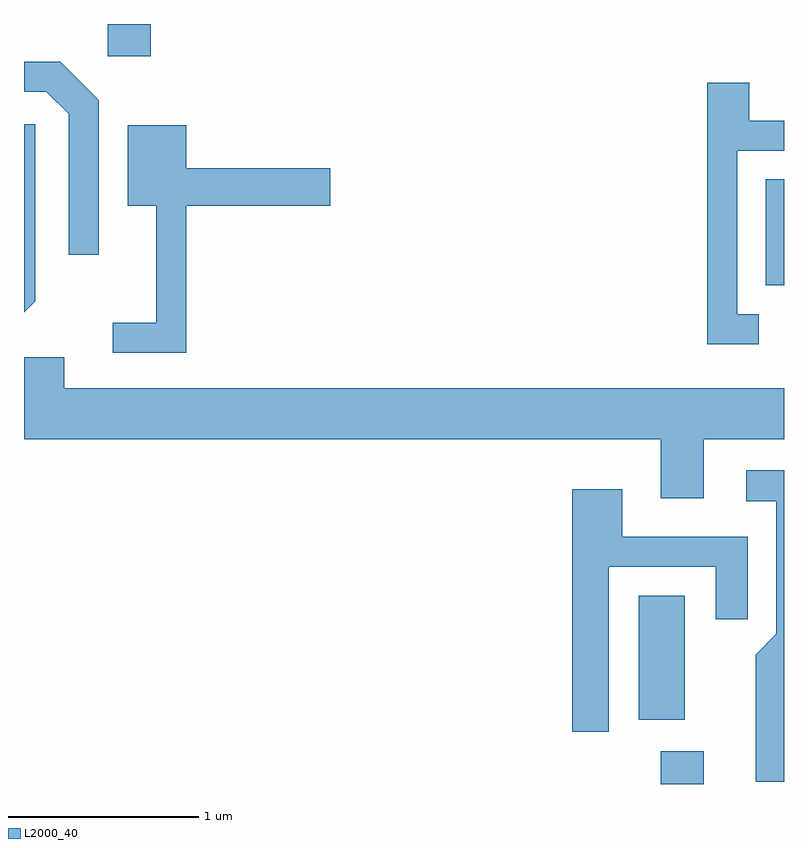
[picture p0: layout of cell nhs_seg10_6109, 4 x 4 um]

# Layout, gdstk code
import gdstk
lib = gdstk.Library(unit=1e-6, precision=1e-09)
def R(c, l, rs):  # rectangles x0, y0, x1, y1
    for r in rs: c.add(gdstk.rectangle(r[:2], r[2:], *l))
def P(c, l, *ps):  # polygons
    for p in ps: c.add(gdstk.Polygon(p, *l))
L2000_40 = (2000, 40)

nhs_seg10_6109 = lib.new_cell('nhs_seg10_6109')
R(nhs_seg10_6109, L2000_40, [(368.961,2136.522,369.189,2136.694), (368.846,2136.861,369.089,2137.514), (369.516,2139.146,369.611,2139.704), (366.051,2140.351,366.279,2140.522)])
P(nhs_seg10_6109, L2000_40, [(366.004,2140.122),(365.802,2140.324),(365.611,2140.324),(365.611,2140.166),(365.729,2140.166),(365.846,2140.049),(365.846,2139.308),(366.004,2139.308)],
  [(369.478,2138.994),(369.364,2138.994),(369.364,2139.856),(369.611,2139.856),(369.611,2140.014),(369.429,2140.014),(369.429,2140.214),(369.206,2140.214),(369.206,2138.836),(369.478,2138.836)],
  [(365.669,2139.064),(365.669,2139.994),(365.611,2139.994),(365.611,2139.006)],
  [(366.464,2139.566),(367.224,2139.566),(367.224,2139.764),(366.464,2139.764),(366.464,2139.989),(366.156,2139.989),(366.156,2139.566),(366.306,2139.566),(366.306,2138.949),(366.078,2138.949),(366.078,2138.791),(366.464,2138.791)],
  [(369.189,2138.336),(369.611,2138.336),(369.611,2138.604),(365.824,2138.604),(365.824,2138.769),(365.611,2138.769),(365.611,2138.336),(368.961,2138.336),(368.961,2138.026),(369.189,2138.026)],
  [(369.611,2138.174),(369.413,2138.174),(369.413,2138.011),(369.571,2138.011),(369.571,2137.312),(369.461,2137.202),(369.461,2136.533),(369.611,2136.533)],
  [(368.689,2137.666),(369.251,2137.666),(369.251,2137.388),(369.419,2137.388),(369.419,2137.824),(368.759,2137.824),(368.759,2138.074),(368.496,2138.074),(368.496,2136.796),(368.689,2136.796)])

lib.write_gds('nhs_seg10_6109.gds')
